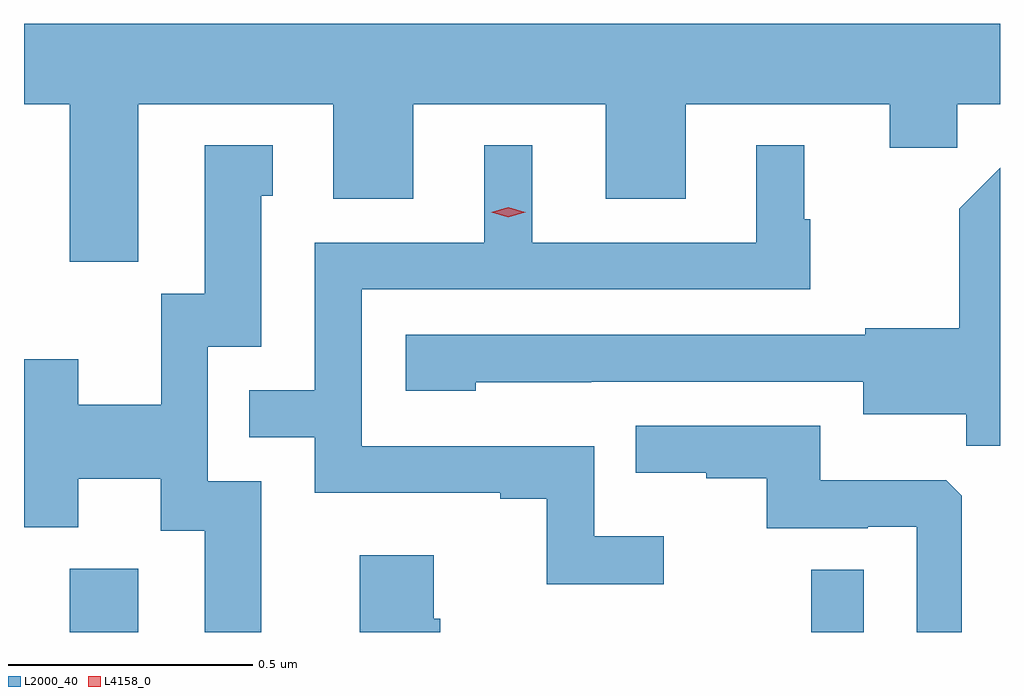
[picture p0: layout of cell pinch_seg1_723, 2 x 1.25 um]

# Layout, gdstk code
import gdstk
lib = gdstk.Library(unit=1e-6, precision=1e-09)
def R(c, l, rs):  # rectangles x0, y0, x1, y1
    for r in rs: c.add(gdstk.rectangle(r[:2], r[2:], *l))
def P(c, l, *ps):  # polygons
    for p in ps: c.add(gdstk.Polygon(p, *l))
L2000_40 = (2000, 40)
L4158_0 = (4158, 0)

pinch_seg1_723 = lib.new_cell('pinch_seg1_723')
R(pinch_seg1_723, L2000_40, [(637.901,574.626,638.041,574.756), (639.42,574.626,639.528,574.754)])
P(pinch_seg1_723, L2000_40, [(638.041,575.708),(638.441,575.708),(638.441,575.514),(638.605,575.514),(638.605,575.708),(638.999,575.708),(638.999,575.514),(639.163,575.514),(639.163,575.708),(639.581,575.708),(639.581,575.618),(639.719,575.618),(639.719,575.708),(639.807,575.708),(639.807,575.872),(637.807,575.872),(637.807,575.708),(637.901,575.708),(637.901,575.385),(638.041,575.385)],
  [(639.118,574.822),(638.976,574.822),(638.976,575.007),(638.499,575.007),(638.499,575.328),(639.418,575.328),(639.418,575.472),(639.406,575.472),(639.406,575.623),(639.308,575.623),(639.308,575.424),(638.848,575.424),(638.848,575.623),(638.75,575.623),(638.75,575.424),(638.403,575.424),(638.403,575.121),(638.269,575.121),(638.269,575.025),(638.403,575.025),(638.403,574.911),(638.783,574.911),(638.783,574.899),(638.878,574.899),(638.878,574.724),(639.118,574.724)],
  [(638.293,574.935),(638.184,574.935),(638.184,575.211),(638.293,575.211),(638.293,575.52),(638.317,575.52),(638.317,575.623),(638.177,575.623),(638.177,575.319),(638.088,575.319),(638.088,575.092),(637.918,575.092),(637.918,575.185),(637.807,575.185),(637.807,574.841),(637.918,574.841),(637.918,574.94),(638.087,574.94),(638.087,574.834),(638.177,574.834),(638.177,574.626),(638.293,574.626)],
  [(639.807,575.577),(639.723,575.493),(639.723,575.248),(639.531,575.248),(639.531,575.235),(638.589,575.235),(638.589,575.12),(638.733,575.12),(638.733,575.138),(638.969,575.138),(638.969,575.139),(639.527,575.139),(639.527,575.072),(639.738,575.072),(639.738,575.008),(639.807,575.008)],
  [(639.729,574.905),(639.697,574.937),(639.439,574.937),(639.439,575.049),(639.061,575.049),(639.061,574.952),(639.205,574.952),(639.205,574.941),(639.329,574.941),(639.329,574.839),(639.536,574.839),(639.536,574.842),(639.636,574.842),(639.636,574.626),(639.729,574.626)],
  [(638.66,574.653),(638.647,574.653),(638.647,574.783),(638.495,574.783),(638.495,574.626),(638.66,574.626)])
P(pinch_seg1_723, L4158_0, [(638.799,575.476),(638.764,575.486),(638.764,575.486),(638.764,575.486),(638.799,575.496),(638.834,575.486),(638.835,575.486),(638.834,575.486)])

lib.write_gds('pinch_seg1_723.gds')
